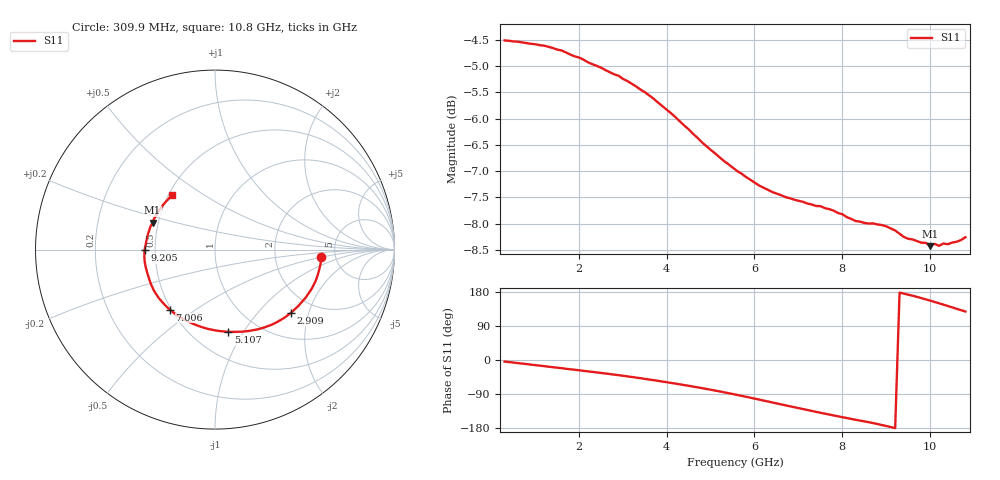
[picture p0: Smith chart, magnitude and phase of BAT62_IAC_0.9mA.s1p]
! Infineon Technologies  Discrete & RF Semiconductors
! BAT62
! IAC = 0.9 mA
! One-Port S-Parameters
# Hz  S  MA  R  50
!f  S11
!Hz  Mag  Ang
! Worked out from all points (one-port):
!   106 points, 309.9 MHz to 10.8 GHz, reference 50 ohm
!   lowest |S11| = -8.4 dB at 10.01 GHz (marker M1), VSWR 2.22, Z = 23.3 + j8.15 ohm
!   |S11| at or under -10 dB: nowhere
!   S11 on the Smith chart (normalised r, x): 309.9 MHz: 3.86, -0.51; 2.909 GHz: 1.51, -1.54; 5.107 GHz: 0.74, -0.86; 7.006 GHz: 0.49, -0.40; 9.205 GHz: 0.44, -0.00; 10.8 GHz: 0.52, +0.38
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3.0985e8  0.5947 -4.1
1.0095e9  0.5898 -13.5
1.4093e9  0.5849 -19.0
1.70915e9  0.5792 -23.1
2.4088e9  0.5625 -32.7
2.90855e9  0.5504 -40.1
3.0085e9  0.5465 -41.5
3.70815e9  0.5233 -53.4
4.30785e9  0.4977 -64.3
4.70765e9  0.4803 -72.3
5.10745e9  0.4642 -80.7
5.6072e9  0.4467 -92.2
5.90705e9  0.4382 -99.4
6.30685e9  0.4287 -109.5
6.90655e9  0.4195 -124.6
7.0065e9  0.4184 -127.0
7.6062e9  0.4118 -141.7
8.006e9  0.4063 -151.0
8.2059e9  0.4022 -155.6
8.70565e9  0.3982 -166.5
9.0055e9  0.3957 -174.2
9.2054e9  0.3921 -179.8
9.50525e9  0.385 172.3
9.8051e9  0.3818 163.3
1.0005e10  0.3789 156.7
1.030485e10  0.3811 146.1
1.050475e10  0.3818 138.9
1.08046e10  0.3863 127.9
